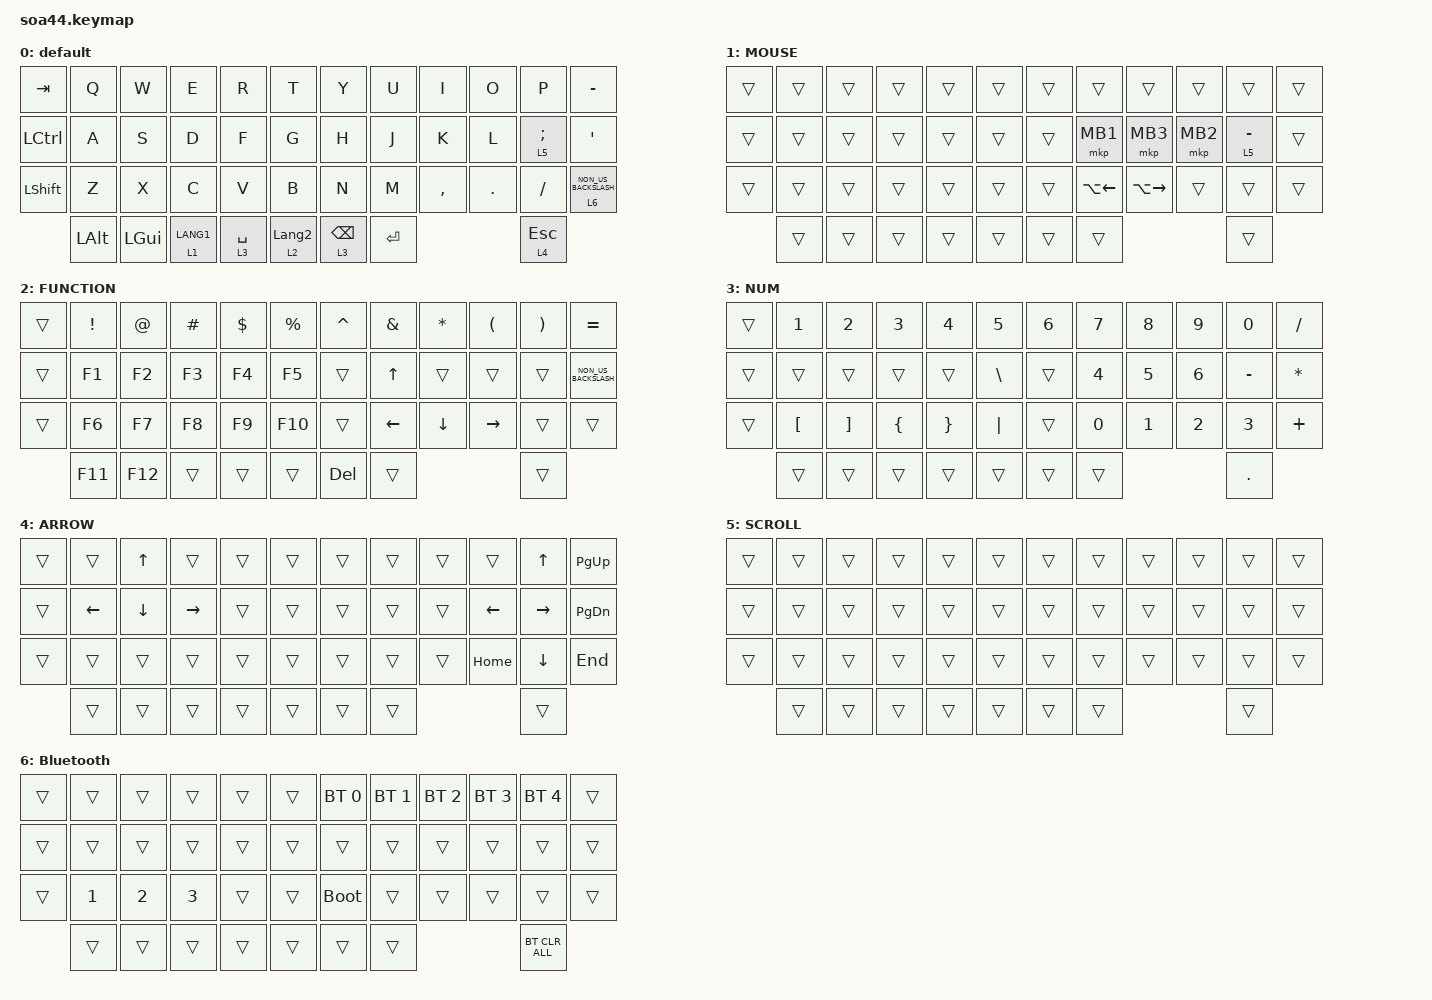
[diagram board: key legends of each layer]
#include <behaviors.dtsi>
#include <dt-bindings/zmk/bt.h>
#include <dt-bindings/zmk/keys.h>
#include <dt-bindings/zmk/pointing.h>

&mt {
    flavor = "balanced";
    quick-tap-ms = <0>;
};

/ {
    combos { compatible = "zmk,combos"; };

    macros {
        to_layer_0: to_layer_0 {
            compatible = "zmk,behavior-macro-one-param";
            #binding-cells = <1>;
            bindings = <&to 0 &macro_param_1to1 &kp MACRO_PLACEHOLDER>;
            label = "TO_LAYER_0";
        };
    };

    behaviors {
        lt_to_layer_0: lt_to_layer_0 {
            compatible = "zmk,behavior-hold-tap";
            label = "LAYER_TAP_TO_0";
            bindings = <&mo>, <&to_layer_0>;

            #binding-cells = <2>;
            tapping-term-ms = <200>;
        };
    };

    keymap {
        compatible = "zmk,keymap";

        default {
            bindings = <
&kp TAB         &kp Q         &kp W         &kp E        &kp R        &kp T             &kp Y            &kp U      &kp I      &kp O       &kp P            &kp MINUS
&kp LCTRL       &kp A         &kp S         &kp D        &kp F        &kp G             &kp H            &kp J      &kp K      &kp L       &lt 5 SEMICOLON  &kp SQT
&kp LEFT_SHIFT  &kp Z         &kp X         &kp C        &kp V        &kp B             &kp N            &kp M      &kp COMMA  &kp PERIOD  &kp SLASH        &lt 6 NON_US_BACKSLASH
                &kp LEFT_ALT  &kp LEFT_GUI  &lt 1 LANG1  &lt 3 SPACE  &lt 2 LANGUAGE_2  &lt 3 BACKSPACE  &kp ENTER                         &lt 4 ESCAPE
            >;
        };

        MOUSE {
            bindings = <
&trans  &trans  &trans  &trans  &trans  &trans  &trans  &trans        &trans         &trans    &trans       &trans
&trans  &trans  &trans  &trans  &trans  &trans  &trans  &mkp MB1      &mkp MB3       &mkp MB2  &lt 5 MINUS  &trans
&trans  &trans  &trans  &trans  &trans  &trans  &trans  &kp LA(LEFT)  &kp LA(RIGHT)  &trans    &trans       &trans
        &trans  &trans  &trans  &trans  &trans  &trans  &trans                                 &trans
            >;
        };

        FUNCTION {
            bindings = <
&trans  &kp EXCLAMATION  &kp AT_SIGN  &kp HASH  &kp DOLLAR  &kp PERCENT  &kp CARET  &kp AMPERSAND  &kp ASTERISK  &kp LEFT_PARENTHESIS  &kp RIGHT_PARENTHESIS  &kp EQUAL
&trans  &kp F1           &kp F2       &kp F3    &kp F4      &kp F5       &trans     &kp UP         &trans        &trans                &trans                 &kp NON_US_BACKSLASH
&trans  &kp F6           &kp F7       &kp F8    &kp F9      &kp F10      &trans     &kp LEFT       &kp DOWN      &kp RIGHT             &trans                 &trans
        &kp F11          &kp F12      &trans    &trans      &trans       &kp DEL    &trans                                             &trans
            >;
        };

        NUM {
            bindings = <
&trans  &kp N1            &kp N2             &kp N3          &kp N4           &kp N5         &kp N6  &kp N7  &kp N8  &kp N9  &kp N0      &kp SLASH
&trans  &trans            &trans             &trans          &trans           &kp BACKSLASH  &trans  &kp N4  &kp N5  &kp N6  &kp MINUS   &kp ASTERISK
&trans  &kp LEFT_BRACKET  &kp RIGHT_BRACKET  &kp LEFT_BRACE  &kp RIGHT_BRACE  &kp PIPE       &trans  &kp N0  &kp N1  &kp N2  &kp N3      &kp PLUS
        &trans            &trans             &trans          &trans           &trans         &trans  &trans                  &kp PERIOD
            >;
        };

        ARROW {
            bindings = <
&trans  &trans          &kp UP_ARROW    &trans     &trans  &trans  &trans  &trans  &trans  &trans          &kp UP_ARROW    &kp PAGE_UP
&trans  &kp LEFT_ARROW  &kp DOWN_ARROW  &kp RIGHT  &trans  &trans  &trans  &trans  &trans  &kp LEFT_ARROW  &kp RIGHT       &kp PAGE_DOWN
&trans  &trans          &trans          &trans     &trans  &trans  &trans  &trans  &trans  &kp HOME        &kp DOWN_ARROW  &kp END
        &trans          &trans          &trans     &trans  &trans  &trans  &trans                          &trans
            >;
        };

        SCROLL {
            bindings = <
&trans  &trans  &trans  &trans  &trans  &trans  &trans  &trans  &trans  &trans  &trans  &trans
&trans  &trans  &trans  &trans  &trans  &trans  &trans  &trans  &trans  &trans  &trans  &trans
&trans  &trans  &trans  &trans  &trans  &trans  &trans  &trans  &trans  &trans  &trans  &trans
        &trans  &trans  &trans  &trans  &trans  &trans  &trans                  &trans
            >;
        };

        Bluetooth {
            bindings = <
&trans  &trans        &trans        &trans        &trans  &trans  &bt BT_SEL 0  &bt BT_SEL 1  &bt BT_SEL 2  &bt BT_SEL 3  &bt BT_SEL 4    &trans
&trans  &trans        &trans        &trans        &trans  &trans  &trans        &trans        &trans        &trans        &trans          &trans
&trans  &kp NUMBER_1  &kp NUMBER_2  &kp NUMBER_3  &trans  &trans  &bootloader   &trans        &trans        &trans        &trans          &trans
        &trans        &trans        &trans        &trans  &trans  &trans        &trans                                    &bt BT_CLR_ALL
            >;
        };
    };
};
